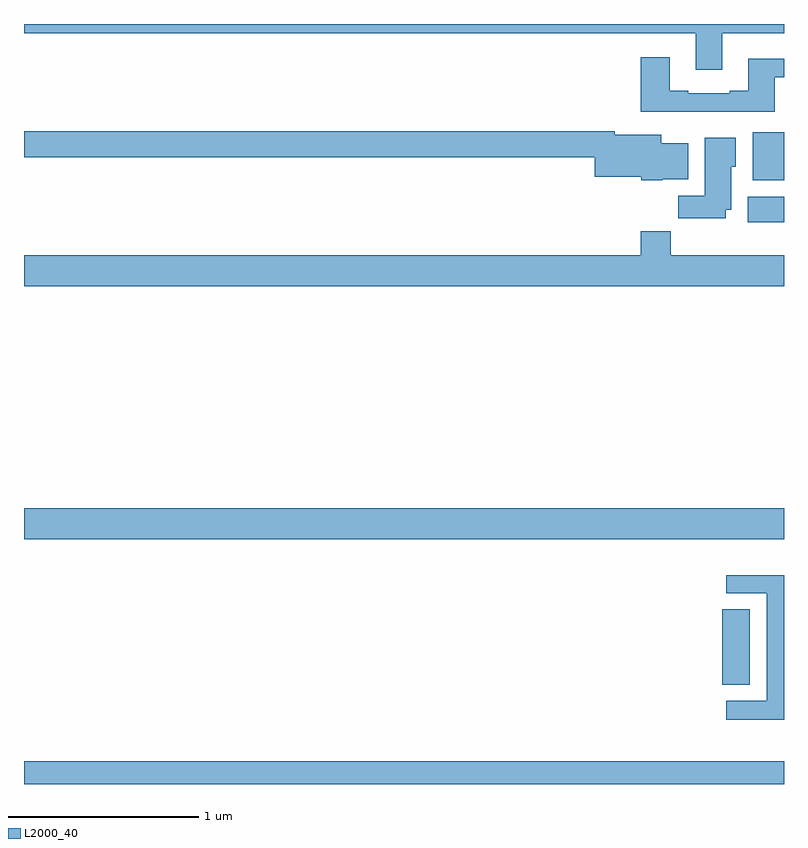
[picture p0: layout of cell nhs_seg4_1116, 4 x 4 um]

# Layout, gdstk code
import gdstk
lib = gdstk.Library(unit=1e-6, precision=1e-09)
def R(c, l, rs):  # rectangles x0, y0, x1, y1
    for r in rs: c.add(gdstk.rectangle(r[:2], r[2:], *l))
def P(c, l, *ps):  # polygons
    for p in ps: c.add(gdstk.Polygon(p, *l))
L2000_40 = (2000, 40)

nhs_seg4_1116 = lib.new_cell('nhs_seg4_1116')
R(nhs_seg4_1116, L2000_40, [(169,760.9,173,761.02), (172.676,761.422,172.819,761.819), (169,762.188,173,762.352), (172.808,763.856,173,763.99), (172.835,764.078,173,764.329)])
P(nhs_seg4_1116, L2000_40, [(172.675,764.852),(173,764.852),(173,764.9),(169,764.9),(169,764.852),(172.535,764.852),(172.535,764.658),(172.675,764.658)],
  [(172.951,764.619),(173,764.619),(173,764.716),(172.811,764.716),(172.811,764.548),(172.715,764.548),(172.715,764.535),(172.495,764.535),(172.495,764.548),(172.399,764.548),(172.399,764.725),(172.247,764.725),(172.247,764.438),(172.951,764.438)],
  [(172.362,764.084),(172.495,764.084),(172.495,764.272),(172.354,764.272),(172.354,764.317),(172.108,764.317),(172.108,764.336),(169,764.336),(169,764.2),(172.004,764.2),(172.004,764.096),(172.248,764.096),(172.248,764.078),(172.362,764.078)],
  [(172.693,763.922),(172.723,763.922),(172.723,764.148),(172.747,764.148),(172.747,764.302),(172.583,764.302),(172.583,763.996),(172.444,763.996),(172.444,763.878),(172.693,763.878)],
  [(173,763.684),(172.403,763.684),(172.403,763.808),(172.247,763.808),(172.247,763.684),(169,763.684),(169,763.52),(173,763.52)],
  [(173,762),(172.695,762),(172.695,761.904),(172.908,761.904),(172.908,761.337),(172.695,761.337),(172.695,761.239),(173,761.239)])

lib.write_gds('nhs_seg4_1116.gds')
